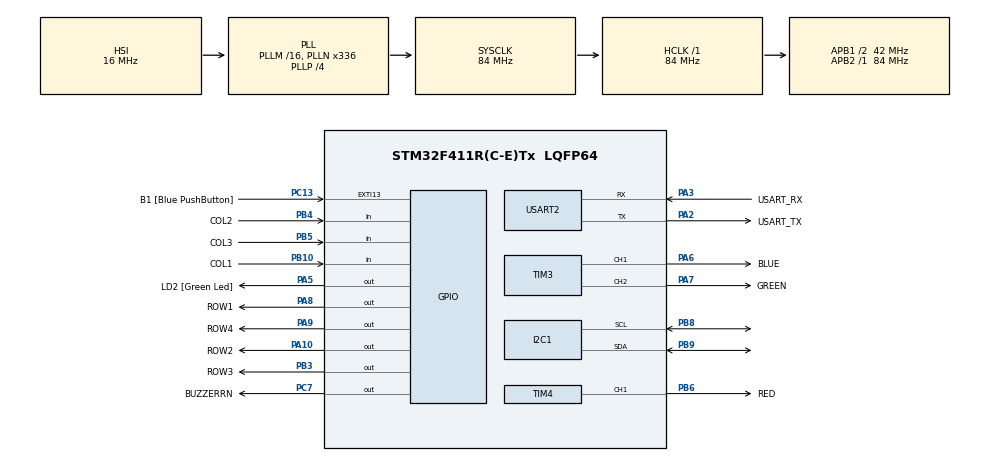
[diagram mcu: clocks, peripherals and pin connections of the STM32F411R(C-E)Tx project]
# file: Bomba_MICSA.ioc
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Mcu.Family=STM32F4
Mcu.Name=STM32F411R(C-E)Tx
Mcu.Package=LQFP64
NVIC.PriorityGroup=NVIC_PRIORITYGROUP_0
NVIC.TIM2_IRQn=true\:0\:0\:false\:false\:true\:true\:true\:true
PA10.GPIO_Label=ROW2
PA10.PinState=GPIO_PIN_SET
PA10.Signal=GPIO_Output
PA13.GPIO_Label=TMS
PA13.Mode=Serial_Wire
PA13.Signal=SYS_JTMS-SWDIO
PA14.GPIO_Label=TCK
PA14.Mode=Serial_Wire
PA14.Signal=SYS_JTCK-SWCLK
PA2.GPIO_Label=USART_TX
PA2.Mode=Asynchronous
PA2.Signal=USART2_TX
PA3.GPIO_Label=USART_RX
PA3.Mode=Asynchronous
PA3.Signal=USART2_RX
PA5.GPIO_Label=LD2 [Green Led]
PA5.PinState=GPIO_PIN_RESET
PA5.Signal=GPIO_Output
PA6.GPIO_Label=BLUE
PA6.Signal=S_TIM3_CH1
PA7.GPIO_Label=GREEN
PA7.Signal=S_TIM3_CH2
PA8.GPIO_Label=ROW1
PA8.PinState=GPIO_PIN_SET
PA8.Signal=GPIO_Output
PA9.GPIO_Label=ROW4
PA9.PinState=GPIO_PIN_SET
PA9.Signal=GPIO_Output
PB10.GPIO_Label=COL1
PB10.GPIO_PuPd=GPIO_PULLUP
PB10.Signal=GPIO_Input
PB3.GPIO_Label=ROW3
PB3.PinState=GPIO_PIN_SET
PB3.Signal=GPIO_Output
PB4.GPIO_Label=COL2
PB4.GPIO_PuPd=GPIO_PULLUP
PB4.Signal=GPIO_Input
PB5.GPIO_Label=COL3
PB5.GPIO_PuPd=GPIO_PULLUP
PB5.Signal=GPIO_Input
PB6.GPIO_Label=RED
PB6.Signal=S_TIM4_CH1
PB8.Mode=I2C
PB8.Signal=I2C1_SCL
PB9.Mode=I2C
PB9.Signal=I2C1_SDA
PC13-ANTI_TAMP.GPIO_Label=B1 [Blue PushButton]
PC13-ANTI_TAMP.GPIO_ModeDefaultEXTI=GPIO_MODE_IT_FALLING
PC13-ANTI_TAMP.Signal=GPXTI13
PC14-OSC32_IN.Mode=LSE-External-Oscillator
PC14-OSC32_IN.Signal=RCC_OSC32_IN
PC15-OSC32_OUT.Mode=LSE-External-Oscillator
PC15-OSC32_OUT.Signal=RCC_OSC32_OUT
PC7.GPIO_Label=BUZZERRN
PC7.Signal=GPIO_Output
PH0\ -\ OSC_IN.Mode=HSE-External-Clock-Source
PH0\ -\ OSC_IN.Signal=RCC_OSC_IN
PH1\ -\ OSC_OUT.Mode=HSE-External-Clock-Source
PH1\ -\ OSC_OUT.Signal=RCC_OSC_OUT
ProjectManager.HeapSize=0x200
ProjectManager.StackSize=0x400
ProjectManager.TargetToolchain=STM32CubeIDE
RCC.48MHZClocksFreq_Value=84000000
RCC.AHBFreq_Value=84000000
RCC.APB1CLKDivider=RCC_HCLK_DIV2
RCC.APB1Freq_Value=42000000
RCC.APB1TimFreq_Value=84000000
RCC.APB2Freq_Value=84000000
RCC.APB2TimFreq_Value=84000000
RCC.CortexFreq_Value=84000000
RCC.FLatency-AdvancedSettings=FLASH_LATENCY_2
RCC.HCLKFreq_Value=84000000
RCC.HSE_VALUE=8000000
RCC.HSI_VALUE=16000000
RCC.PLLN=336
RCC.PLLP=RCC_PLLP_DIV4
RCC.SYSCLKFreq_VALUE=84000000
RCC.SYSCLKSource=RCC_SYSCLKSOURCE_PLLCLK
RCC.VCOOutputFreq_Value=336000000
SH.S_TIM3_CH1.0=TIM3_CH1,PWM Generation1 CH1
SH.S_TIM3_CH2.0=TIM3_CH2,PWM Generation2 CH2
SH.S_TIM4_CH1.0=TIM4_CH1,PWM Generation1 CH1
TIM2.Period=9999
TIM2.Prescaler=8399
TIM3.Channel-PWM\ Generation1\ CH1=TIM_CHANNEL_1
TIM3.Channel-PWM\ Generation2\ CH2=TIM_CHANNEL_2
TIM4.Channel-PWM\ Generation1\ CH1=TIM_CHANNEL_1
USART2.VirtualMode=VM_ASYNC
VP_RTC_VS_RTC_Activate.Mode=RTC_Enabled
VP_TIM2_VS_ClockSourceINT.Mode=Internal
board=NUCLEO-F411RE

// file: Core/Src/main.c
/* USER CODE BEGIN Header */
/**
  ******************************************************************************
  * @file           : main.c
  * @brief          : Main program body
  ******************************************************************************
  * @attention
  *
  * Copyright (c) 2026 STMicroelectronics.
  * All rights reserved.
  *
  * This software is licensed under terms that can be found in the LICENSE file
  * in the root directory of this software component.
  * If no LICENSE file comes with this software, it is provided AS-IS.
  *
  ******************************************************************************
  */
/* USER CODE END Header */
#include "main.h"
#include "i2c.h"
#include "rtc.h"
#include "tim.h"
#include "usart.h"
#include "gpio.h"

/* USER CODE BEGIN Includes */
#include "main.h"
#include "i2c-lcd.h"
#include "led.h"

#include <stdlib.h>
#include <string.h>
#include <time.h>
#include <stdio.h>

/* USER CODE END Includes */

/* USER CODE BEGIN PV */
#define CODE_LENGTH 3

int bomb_defused = 0;
char* correct_code;
volatile int time_remaining = 120; // segundos
int base_penalty = 5; // segundos
double penalty_multiplier = 1.0;
volatile int last_error;

char input_code[CODE_LENGTH+1];
int key_count = 0;

char* msg_exploded = "BOMBA EXPLODIU";
char* msg_defused = "BOMBA DESARMADA";

/* USER CODE END PV */

void SystemClock_Config(void);

/* USER CODE BEGIN 0 */
char read_keypad(void) {
	char keys[4][3] = {
	        {'1','2','3'},
	        {'4','5','6'},
	        {'7','8','9'},
	        {'*','0','#'}
	};

    GPIO_TypeDef* row_ports[] = {GPIOA, GPIOA, GPIOB, GPIOA};
    uint16_t row_pins[] = {GPIO_PIN_8, GPIO_PIN_10, GPIO_PIN_3, GPIO_PIN_9};

    GPIO_TypeDef* col_ports[] = {GPIOB, GPIOB, GPIOB};
    uint16_t col_pins[] = {GPIO_PIN_10, GPIO_PIN_4, GPIO_PIN_5};

    for (int r = 0; r < 4; r++) {
        // 1. Reset: Coloca todas as linhas em HIGH
        for (int i = 0; i < 4; i++) {
            HAL_GPIO_WritePin(row_ports[i], row_pins[i], GPIO_PIN_SET);
        }

        // 2. Ativação: Coloca apenas a linha atual em LOW
        HAL_GPIO_WritePin(row_ports[r], row_pins[r], GPIO_PIN_RESET);
        HAL_Delay(2); // Estabilização de sinal

        // 3. Leitura: Verifica qual coluna respondeu
        for (int c = 0; c < 3; c++) {
            if (HAL_GPIO_ReadPin(col_ports[c], col_pins[c]) == GPIO_PIN_RESET) {
                HAL_Delay(50); // Debounce para evitar cliques duplos
                while(HAL_GPIO_ReadPin(col_ports[c], col_pins[c]) == GPIO_PIN_RESET);
                return keys[r][c];
            }
        }
    }
    return 0; // Nenhuma tecla detetada
}

char* generate_code(){
	char* new_code = malloc((CODE_LENGTH+1)*sizeof(char));

    if(!new_code){
        return NULL;
    }

	for (int i = 0; i < CODE_LENGTH; i++){
		new_code[i] = '0' + rand() % 10; // ASCII para transformar em char
	}

	new_code[CODE_LENGTH] = '\0';

	return new_code;
}

void applyPenalty(){
	int penalty = base_penalty * penalty_multiplier;

	if (time_remaining > penalty){
		time_remaining -= penalty;
	} else {
		time_remaining = 0;
	}

	penalty_multiplier += 0.5;
}

void giveHint(){
	lcd_clear();
    lcd_put_cur(0, 0);
	if (atoi(input_code) > atoi(correct_code)){
		lcd_send_string("MUITO ALTO");
	} else {
		lcd_send_string("MUITO BAIXO");
	}
}

void reset_game(){
	bomb_defused = 0;
	time_remaining = 120;
	penalty_multiplier = 1.0;

	if (correct_code){
		free(correct_code);
		correct_code = NULL;
	}

	correct_code = generate_code();

	for (int i = 0; i < CODE_LENGTH; i++)
		input_code[i] = 0;

	key_count = 0;

	lcd_display_codigo();
}

void wait_for_restart(){
	char tecla = 0;
	while (tecla != '#'){
		tecla = read_keypad();
		HAL_Delay(10); // debounce
	}
}

void endgame_routine(){
	char* msg = msg_exploded;
	if (bomb_defused){
        RGB_setGreen();
        msg = msg_defused;
	} else {
        RGB_setRed();
	}

	free(correct_code);
	correct_code = NULL;
	lcd_display_final_message(msg);
    wait_for_restart();
    reset_game();
}

void checkCodeInput(){
    if (strcmp(input_code, correct_code) == 0) {
  	  bomb_defused = 1;
  	  endgame_routine();
    } else {
    	last_error = HAL_GetTick();
        giveHint();
        applyPenalty();
        key_count = 0;
    }
}

void handle_keypress(char tecla){
	if (time_remaining > 0 || !bomb_defused){
		if (tecla == '#' || tecla == '*'){
			lcd_display_invalid_key_message();
			return;
		}
	}

    if (key_count < CODE_LENGTH) {
        input_code[key_count] = tecla;
        lcd_put_cur(0, 7+key_count); // 7 é o comprimento de "CODIGO:"
        lcd_send_data(tecla);
        key_count++;
    }

    if (key_count == CODE_LENGTH) {
        input_code[CODE_LENGTH] = '\0';
        HAL_Delay(500);
        checkCodeInput();
    }
}

void update_display(){
    if(!bomb_defused) {
  	  if (time_remaining <= 0)
  		  endgame_routine();
  	  else {
  		  lcd_display_tempo(time_remaining);
  	  }
    }

    if (last_error != 0 && (HAL_GetTick() - last_error >= 1000))
    {
  	  lcd_display_codigo();
      last_error = 0;
    }
}
/* USER CODE END 0 */

int main(void)
{

  /* MCU Configuration--------------------------------------------------------*/

  /* Reset of all peripherals, Initializes the Flash interface and the Systick. */
  HAL_Init();

  /* Configure the system clock */
  SystemClock_Config();

  /* Initialize all configured peripherals */
  MX_GPIO_Init();
  MX_USART2_UART_Init();
  MX_I2C1_Init();
  MX_TIM3_Init();
  MX_TIM4_Init();
  MX_TIM2_Init();
  MX_RTC_Init();
  /* USER CODE BEGIN 2 */
  RGB_init();
  lcd_init();
  srand(rtc_get_seed());
  correct_code = generate_code();
  HAL_TIM_Base_Start_IT(&htim2);
  lcd_display_codigo();
  lcd_display_tempo(time_remaining);

  /* USER CODE END 2 */

  /* Infinite loop */
  /* USER CODE BEGIN WHILE */
  while (1)
    {
	  RGB_defuseBlink(time_remaining);

      char tecla = read_keypad();
      if (tecla)
    	  handle_keypress(tecla);

      update_display();

    /* USER CODE END WHILE */

  }
}

void SystemClock_Config(void)
{
  RCC_OscInitTypeDef RCC_OscInitStruct = {0};
  RCC_ClkInitTypeDef RCC_ClkInitStruct = {0};

  /** Configure the main internal regulator output voltage
  */
  __HAL_RCC_PWR_CLK_ENABLE();
  __HAL_PWR_VOLTAGESCALING_CONFIG(PWR_REGULATOR_VOLTAGE_SCALE1);

  /** Initializes the RCC Oscillators according to the specified parameters
  * in the RCC_OscInitTypeDef structure.
  */
  RCC_OscInitStruct.OscillatorType = RCC_OSCILLATORTYPE_HSI|RCC_OSCILLATORTYPE_LSI;
  RCC_OscInitStruct.HSIState = RCC_HSI_ON;
  RCC_OscInitStruct.HSICalibrationValue = RCC_HSICALIBRATION_DEFAULT;
  RCC_OscInitStruct.LSIState = RCC_LSI_ON;
  RCC_OscInitStruct.PLL.PLLState = RCC_PLL_ON;
  RCC_OscInitStruct.PLL.PLLSource = RCC_PLLSOURCE_HSI;
  RCC_OscInitStruct.PLL.PLLM = 16;
  RCC_OscInitStruct.PLL.PLLN = 336;
  RCC_OscInitStruct.PLL.PLLP = RCC_PLLP_DIV4;
  RCC_OscInitStruct.PLL.PLLQ = 4;
  if (HAL_RCC_OscConfig(&RCC_OscInitStruct) != HAL_OK)
  {
    Error_Handler();
  }

  /** Initializes the CPU, AHB and APB buses clocks
  */
  RCC_ClkInitStruct.ClockType = RCC_CLOCKTYPE_HCLK|RCC_CLOCKTYPE_SYSCLK
                              |RCC_CLOCKTYPE_PCLK1|RCC_CLOCKTYPE_PCLK2;
  RCC_ClkInitStruct.SYSCLKSource = RCC_SYSCLKSOURCE_PLLCLK;
  RCC_ClkInitStruct.AHBCLKDivider = RCC_SYSCLK_DIV1;
  RCC_ClkInitStruct.APB1CLKDivider = RCC_HCLK_DIV2;
  RCC_ClkInitStruct.APB2CLKDivider = RCC_HCLK_DIV1;

  if (HAL_RCC_ClockConfig(&RCC_ClkInitStruct, FLASH_LATENCY_2) != HAL_OK)
  {
    Error_Handler();
  }
}

/* USER CODE BEGIN 4 */

void HAL_TIM_PeriodElapsedCallback(TIM_HandleTypeDef *htim)
{
    if(htim->Instance == TIM2) // verifica se é o timer certo
    {
        if(time_remaining > 0){
            time_remaining--;
        }
    }
}

/* USER CODE END 4 */

void Error_Handler(void)
{
  __disable_irq();
  while (1)
  {
  }
}
